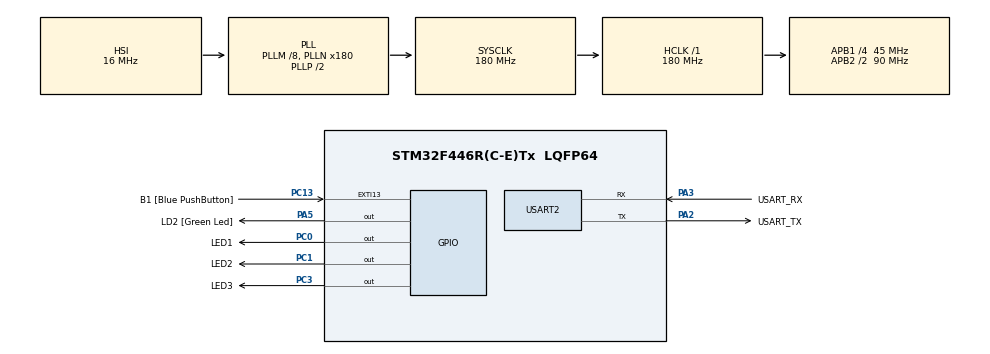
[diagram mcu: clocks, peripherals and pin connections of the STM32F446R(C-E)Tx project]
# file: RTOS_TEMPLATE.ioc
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FREERTOS.Mutexes01=myMutex01,Dynamic,NULL
FREERTOS.Tasks01=defaultTask,0,128,StartDefaultTask,Default,NULL,Dynamic,NULL,NULL;myTask02,0,128,StartTask02,Default,NULL,Dynamic,NULL,NULL;myTask03,0,128,StartTask03,Default,NULL,Dynamic,NULL,NULL
Mcu.Family=STM32F4
Mcu.Name=STM32F446R(C-E)Tx
Mcu.Package=LQFP64
NVIC.PriorityGroup=NVIC_PRIORITYGROUP_4
NVIC.TIM2_IRQn=true\:0\:0\:false\:false\:true\:false\:false
NVIC.TimeBase=TIM2_IRQn
NVIC.TimeBaseIP=TIM2
PA13.GPIO_Label=TMS
PA13.Mode=Serial_Wire
PA13.Signal=SYS_JTMS-SWDIO
PA14.GPIO_Label=TCK
PA14.Mode=Serial_Wire
PA14.Signal=SYS_JTCK-SWCLK
PA2.GPIO_Label=USART_TX
PA2.Mode=Asynchronous
PA2.Signal=USART2_TX
PA3.GPIO_Label=USART_RX
PA3.Mode=Asynchronous
PA3.Signal=USART2_RX
PA5.GPIO_Label=LD2 [Green Led]
PA5.Signal=GPIO_Output
PB3.GPIO_Label=SWO
PB3.Signal=SYS_JTDO-SWO
PC0.GPIO_Label=LED1
PC0.Signal=GPIO_Output
PC1.GPIO_Label=LED2
PC1.Signal=GPIO_Output
PC13.GPIO_Label=B1 [Blue PushButton]
PC13.GPIO_ModeDefaultEXTI=GPIO_MODE_IT_FALLING
PC13.Signal=GPXTI13
PC14-OSC32_IN.Mode=LSE-External-Oscillator
PC14-OSC32_IN.Signal=RCC_OSC32_IN
PC15-OSC32_OUT.Mode=LSE-External-Oscillator
PC15-OSC32_OUT.Signal=RCC_OSC32_OUT
PC3.GPIO_Label=LED3
PC3.Signal=GPIO_Output
PH0-OSC_IN.Mode=HSE-External-Oscillator
PH0-OSC_IN.Signal=RCC_OSC_IN
PH1-OSC_OUT.Mode=HSE-External-Oscillator
PH1-OSC_OUT.Signal=RCC_OSC_OUT
ProjectManager.HeapSize=0x200
ProjectManager.StackSize=0x400
ProjectManager.TargetToolchain=SW4STM32
RCC.48MHZClocksFreq_Value=84000000
RCC.AHBFreq_Value=180000000
RCC.APB1CLKDivider=RCC_HCLK_DIV4
RCC.APB1Freq_Value=45000000
RCC.APB1TimFreq_Value=90000000
RCC.APB2CLKDivider=RCC_HCLK_DIV2
RCC.APB2Freq_Value=90000000
RCC.APB2TimFreq_Value=180000000
RCC.CortexFreq_Value=180000000
RCC.FLatency-AdvancedSettings=FLASH_LATENCY_5
RCC.HCLKFreq_Value=180000000
RCC.HSE_VALUE=8000000
RCC.HSI_VALUE=16000000
RCC.PLLM=8
RCC.PLLN=180
RCC.SYSCLKFreq_VALUE=180000000
RCC.SYSCLKSource=RCC_SYSCLKSOURCE_PLLCLK
RCC.USBFreq_Value=180000000
RCC.VCOOutputFreq_Value=360000000
USART2.VirtualMode=VM_ASYNC
VP_FREERTOS_VS_ENABLE.Mode=Enabled
VP_SYS_VS_tim2.Mode=TIM2
board=NUCLEO-F446RE

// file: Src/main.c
#include "main.h"
#include "stm32f4xx_hal.h"
#include "cmsis_os.h"

UART_HandleTypeDef huart2;

osThreadId defaultTaskHandle;
osThreadId myTask02Handle;
osThreadId myTask03Handle;
osMutexId myMutex01Handle;
char buff[]="hello world \n\r";
char buff2[]="bandugn lautan api \n\r";
/* USER CODE BEGIN PV */
/* Private variables ---------------------------------------------------------*/

/* USER CODE END PV */

void SystemClock_Config(void);
static void MX_GPIO_Init(void);
static void MX_USART2_UART_Init(void);
void StartDefaultTask(void const * argument);
void StartTask02(void const * argument);
void StartTask03(void const * argument);

/* USER CODE BEGIN PFP */
/* Private function prototypes -----------------------------------------------*/

/* USER CODE END PFP */

int main(void)
{

  /* MCU Configuration----------------------------------------------------------*/

  /* Reset of all peripherals, Initializes the Flash interface and the Systick. */
  HAL_Init();

  /* Configure the system clock */
  SystemClock_Config();

  /* Initialize all configured peripherals */
  MX_GPIO_Init();
  MX_USART2_UART_Init();

  /* Create the mutex(es) */
  /* definition and creation of myMutex01 */
  osMutexDef(myMutex01);
  myMutex01Handle = osMutexCreate(osMutex(myMutex01));

  /* Create the thread(s) */
  /* definition and creation of defaultTask */
  osThreadDef(defaultTask, StartDefaultTask, osPriorityNormal, 0, 128);
  defaultTaskHandle = osThreadCreate(osThread(defaultTask), NULL);

  /* definition and creation of myTask02 */
  osThreadDef(myTask02, StartTask02, osPriorityNormal, 0, 128);
  myTask02Handle = osThreadCreate(osThread(myTask02), NULL);

  /* definition and creation of myTask03 */
  osThreadDef(myTask03, StartTask03, osPriorityNormal, 0, 128);
  myTask03Handle = osThreadCreate(osThread(myTask03), NULL);

  /* Start scheduler */
  osKernelStart();

  /* We should never get here as control is now taken by the scheduler */

  /* Infinite loop */
  while (1)
  {

  }

}

void SystemClock_Config(void)
{

  RCC_OscInitTypeDef RCC_OscInitStruct;
  RCC_ClkInitTypeDef RCC_ClkInitStruct;

    /**Configure the main internal regulator output voltage
    */
  __HAL_RCC_PWR_CLK_ENABLE();

  __HAL_PWR_VOLTAGESCALING_CONFIG(PWR_REGULATOR_VOLTAGE_SCALE1);

    /**Initializes the CPU, AHB and APB busses clocks
    */
  RCC_OscInitStruct.OscillatorType = RCC_OSCILLATORTYPE_HSI;
  RCC_OscInitStruct.HSIState = RCC_HSI_ON;
  RCC_OscInitStruct.HSICalibrationValue = 16;
  RCC_OscInitStruct.PLL.PLLState = RCC_PLL_ON;
  RCC_OscInitStruct.PLL.PLLSource = RCC_PLLSOURCE_HSI;
  RCC_OscInitStruct.PLL.PLLM = 8;
  RCC_OscInitStruct.PLL.PLLN = 180;
  RCC_OscInitStruct.PLL.PLLP = RCC_PLLP_DIV2;
  RCC_OscInitStruct.PLL.PLLQ = 2;
  RCC_OscInitStruct.PLL.PLLR = 2;
  if (HAL_RCC_OscConfig(&RCC_OscInitStruct) != HAL_OK)
  {
    _Error_Handler(__FILE__, __LINE__);
  }

    /**Activate the Over-Drive mode
    */
  if (HAL_PWREx_EnableOverDrive() != HAL_OK)
  {
    _Error_Handler(__FILE__, __LINE__);
  }

    /**Initializes the CPU, AHB and APB busses clocks
    */
  RCC_ClkInitStruct.ClockType = RCC_CLOCKTYPE_HCLK|RCC_CLOCKTYPE_SYSCLK
                              |RCC_CLOCKTYPE_PCLK1|RCC_CLOCKTYPE_PCLK2;
  RCC_ClkInitStruct.SYSCLKSource = RCC_SYSCLKSOURCE_PLLCLK;
  RCC_ClkInitStruct.AHBCLKDivider = RCC_SYSCLK_DIV1;
  RCC_ClkInitStruct.APB1CLKDivider = RCC_HCLK_DIV4;
  RCC_ClkInitStruct.APB2CLKDivider = RCC_HCLK_DIV2;

  if (HAL_RCC_ClockConfig(&RCC_ClkInitStruct, FLASH_LATENCY_5) != HAL_OK)
  {
    _Error_Handler(__FILE__, __LINE__);
  }

    /**Configure the Systick interrupt time
    */
  HAL_SYSTICK_Config(HAL_RCC_GetHCLKFreq()/1000);

    /**Configure the Systick
    */
  HAL_SYSTICK_CLKSourceConfig(SYSTICK_CLKSOURCE_HCLK);

  /* SysTick_IRQn interrupt configuration */
  HAL_NVIC_SetPriority(SysTick_IRQn, 15, 0);
}

/* USART2 init function */
static void MX_USART2_UART_Init(void)
{

  huart2.Instance = USART2;
  huart2.Init.BaudRate = 115200;
  huart2.Init.WordLength = UART_WORDLENGTH_8B;
  huart2.Init.StopBits = UART_STOPBITS_1;
  huart2.Init.Parity = UART_PARITY_NONE;
  huart2.Init.Mode = UART_MODE_TX_RX;
  huart2.Init.HwFlowCtl = UART_HWCONTROL_NONE;
  huart2.Init.OverSampling = UART_OVERSAMPLING_16;
  if (HAL_UART_Init(&huart2) != HAL_OK)
  {
    _Error_Handler(__FILE__, __LINE__);
  }

}

/** Configure pins as
        * Analog
        * Input
        * Output
        * EVENT_OUT
        * EXTI
*/
static void MX_GPIO_Init(void)
{

  GPIO_InitTypeDef GPIO_InitStruct;

  /* GPIO Ports Clock Enable */
  __HAL_RCC_GPIOC_CLK_ENABLE();
  __HAL_RCC_GPIOH_CLK_ENABLE();
  __HAL_RCC_GPIOA_CLK_ENABLE();
  __HAL_RCC_GPIOB_CLK_ENABLE();

  /*Configure GPIO pin Output Level */
  HAL_GPIO_WritePin(GPIOC, LED1_Pin|LED2_Pin|LED3_Pin, GPIO_PIN_RESET);

  /*Configure GPIO pin Output Level */
  HAL_GPIO_WritePin(LD2_GPIO_Port, LD2_Pin, GPIO_PIN_RESET);

  /*Configure GPIO pin : B1_Pin */
  GPIO_InitStruct.Pin = B1_Pin;
  GPIO_InitStruct.Mode = GPIO_MODE_IT_FALLING;
  GPIO_InitStruct.Pull = GPIO_NOPULL;
  HAL_GPIO_Init(B1_GPIO_Port, &GPIO_InitStruct);

  /*Configure GPIO pins : LED1_Pin LED2_Pin LED3_Pin */
  GPIO_InitStruct.Pin = LED1_Pin|LED2_Pin|LED3_Pin;
  GPIO_InitStruct.Mode = GPIO_MODE_OUTPUT_PP;
  GPIO_InitStruct.Pull = GPIO_NOPULL;
  GPIO_InitStruct.Speed = GPIO_SPEED_FREQ_LOW;
  HAL_GPIO_Init(GPIOC, &GPIO_InitStruct);

  /*Configure GPIO pin : LD2_Pin */
  GPIO_InitStruct.Pin = LD2_Pin;
  GPIO_InitStruct.Mode = GPIO_MODE_OUTPUT_PP;
  GPIO_InitStruct.Pull = GPIO_NOPULL;
  GPIO_InitStruct.Speed = GPIO_SPEED_FREQ_LOW;
  HAL_GPIO_Init(LD2_GPIO_Port, &GPIO_InitStruct);

}

/* StartDefaultTask function */
void StartDefaultTask(void const * argument)
{

  /* USER CODE BEGIN 5 */
  /* Infinite loop */
  for(;;)
  {
		HAL_GPIO_TogglePin(LED1_GPIO_Port,LED1_Pin);
		osDelay(100);
  }
  /* USER CODE END 5 */
}

/* StartTask02 function */
void StartTask02(void const * argument)
{
  /* USER CODE BEGIN StartTask02 */
  /* Infinite loop */
  for(;;)
  {

		HAL_GPIO_TogglePin(LED2_GPIO_Port,LED2_Pin);
		osMutexWait(myMutex01Handle,osWaitForever);
		  HAL_UART_Transmit(&huart2,(uint8_t*)buff2,sizeof(buff2),1000);
		osMutexRelease(myMutex01Handle);
		osDelay(1000);
  }
  /* USER CODE END StartTask02 */
}

/* StartTask03 function */
void StartTask03(void const * argument)
{
  /* USER CODE BEGIN StartTask03 */
  /* Infinite loop */
  for(;;)
  {
		if (HAL_GPIO_ReadPin(B1_GPIO_Port,B1_Pin)== GPIO_PIN_RESET){
			HAL_GPIO_WritePin(LED3_GPIO_Port,LED3_Pin,GPIO_PIN_RESET);
			osMutexWait(myMutex01Handle,osWaitForever);
			HAL_UART_Transmit(&huart2,(uint8_t*)buff,sizeof(buff),1000);
			osMutexRelease(myMutex01Handle);
			osDelay(1000);
			HAL_GPIO_WritePin(LED3_GPIO_Port,LED3_Pin,GPIO_PIN_SET);

		} else {
			osDelay(1);
		}
  }
  /* USER CODE END StartTask03 */
}

void HAL_TIM_PeriodElapsedCallback(TIM_HandleTypeDef *htim)
{
  if (htim->Instance == TIM2) {
    HAL_IncTick();
  }
}

void _Error_Handler(char *file, int line)
{
  while(1)
  {
  }
}

/************************ (C) COPYRIGHT STMicroelectronics *****END OF FILE****/
